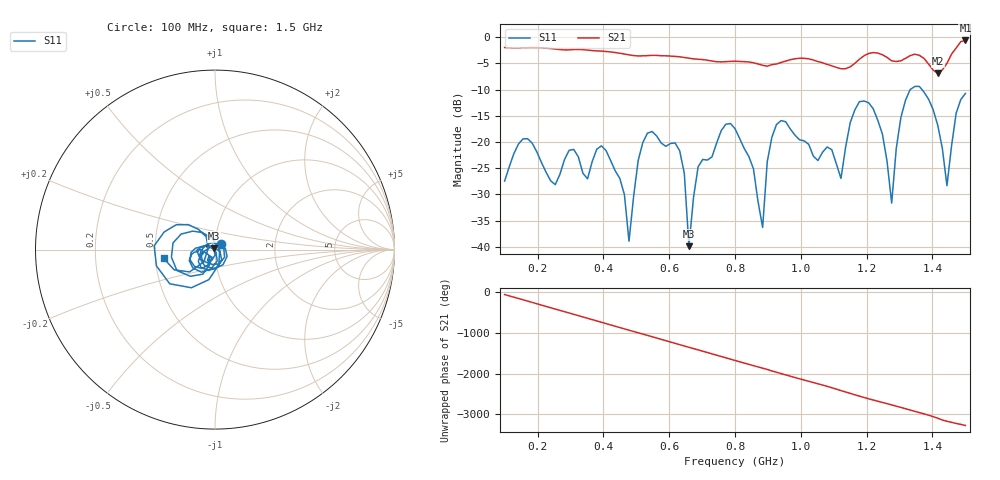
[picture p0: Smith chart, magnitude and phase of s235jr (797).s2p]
! NanoVNA-App
! Date: 2025-09-25 15:10:22
! Start: 100MHz Stop: 1,5GHz Points: 101
! S-Parameter data: F S11 S21 S12 S22
# Hz S RI R 50
!  Frequency  S11_Real  S11_Imag  S21_Real  S21_Imag  S12_Real  S12_Imag  S22_Real  S22_Imag
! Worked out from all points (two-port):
!   101 points, 100 MHz to 1.5 GHz, reference 50 ohm
!   highest |S21| = -0.62 dB at 1.5 GHz (marker M1); lowest = -6.9 dB at 1.416 GHz (marker M2)
!   |S21| within 3 dB of the highest: start of sweep to 607.1 MHz; 1.19 GHz to 1.256 GHz (65.18 MHz wide, 5.33 % of centre) (the widest 2 of 4)
!   lowest |S11| = -39.9 dB at 660 MHz (marker M3), VSWR 1.02, Z = 49.2 + j0.638 ohm
!   |S11| at or under -10 dB: start of sweep to 1.332 GHz; 1.368 GHz to end of sweep
!   S12 and S22 are empty: the file has one direction only
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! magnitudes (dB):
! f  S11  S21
! 100 MHz  -27.5  -2.0
! 156 MHz  -19.4  -2.0
! 338 MHz  -26.0  -2.4
! 408 MHz  -21.6  -2.7
! 478 MHz  -38.9  -3.4
! 520 MHz  -20.1  -3.5
! 576 MHz  -20.2  -3.5
! 632 MHz  -21.7  -3.7
! 660 MHz  -39.9  -4.0
! 688 MHz  -24.7  -4.2
! 800 MHz  -17.5  -4.6
! 884 MHz  -36.3  -5.4
! 898 MHz  -23.8  -5.5
! 926 MHz  -16.7  -5.1
! 1.038 GHz  -22.7  -4.4
! 1.122 GHz  -27.0  -6.0
! 1.206 GHz  -12.5  -3.1
! 1.276 GHz  -31.7  -4.5
! 1.332 GHz  -10.0  -3.5
! 1.416 GHz  -16.8  -6.9
! 1.444 GHz  -28.3  -5.0
! 1.5 GHz  -10.7  -0.6
